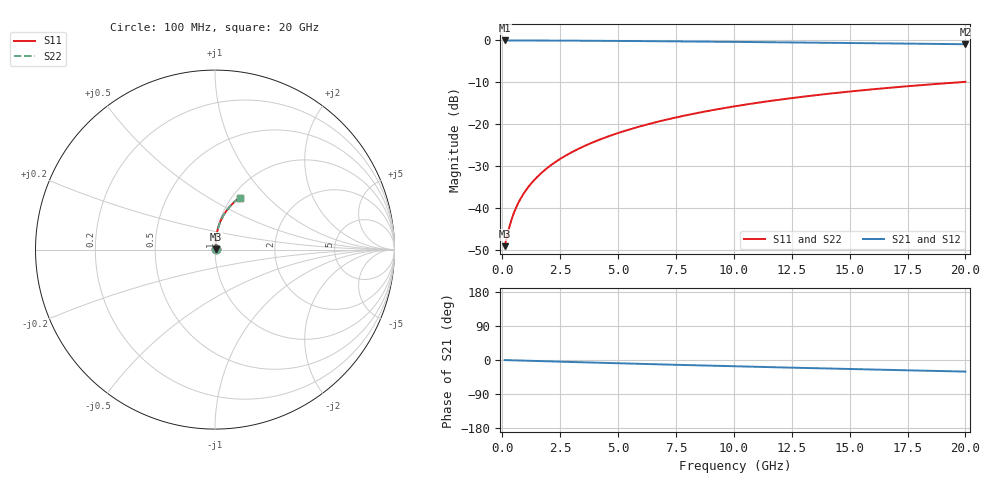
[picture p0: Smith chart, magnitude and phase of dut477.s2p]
! Touchstone file exported from HFSS 2024.1.0
!  File:  C:/UserFiles/LocalFiles/RDL_TSV_Batchsim/temp_RDL_bottom_477_1779686224.aedt
!  Generated:  01:19:50 PM May 25, 2026
!  Design:  RDL_bottom
!  Project:  temp_RDL_bottom_477_1779686224
!  Setup:  Setup1
!  Solution:  Sweep
! Variables:
!  dtsv = 10.80580581um
!  hbump = 3um
!  htsv = 78.38um
!  ldown = 390.65um
!  lrdl = 100um
!  p = 40
!  p1 = 49.98um
!  rhole = 1um
!  t = 450um
!  tdown = 2.4um
!  trdl = 3.915915916um
!  wdown = 20.47um
!  wrdl = 20um
# GHz S MA R 50.000000
! Terminal data exported
! Port[1] = RDL1_T1
! Port[2] = RDL1_T2
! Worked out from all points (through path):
!   200 points, 100 MHz to 20 GHz, reference 50 ohm
!   highest |S21| = -0.03 dB at 100 MHz (marker M1); lowest = -0.9 dB at 20 GHz (marker M2)
!   group delay of S21, straight-line fit = 4.22 ps
!   lowest |S11| = -49.1 dB at 100 MHz (marker M3), VSWR 1.01, Z = 50.3 + j0.167 ohm
!   |S11| at or under -10 dB: start of sweep to 19.72 GHz
!   |S22| runs from -49.1 to -9.9 dB; largest |S21 - S12| = 4.1e-15
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0.1  0.003523 28.1  0.9969 -0.2  0.9969 -0.2  0.003523 28.1
! Gamma 0 0 0 0
! Port Impedance 50 0 50 0
0.3  0.005897 56.3  0.9967 -0.6  0.9967 -0.6  0.005897 56.3
0.4  0.007309 62.5  0.9965 -0.7  0.9965 -0.7  0.007309 62.5
0.5  0.008751 66.5  0.9964 -0.9  0.9964 -0.9  0.008751 66.5
0.6  0.0102 69.4  0.9963 -1.1  0.9963 -1.1  0.0102 69.4
0.7  0.01166 71.6  0.9961 -1.3  0.9961 -1.3  0.01166 71.6
0.9  0.01457 74.8  0.9958 -1.6  0.9958 -1.6  0.01457 74.8
1.2  0.01898 77.8  0.9954 -2.1  0.9954 -2.1  0.01898 77.8
1.4  0.02195 79.2  0.9951 -2.5  0.9951 -2.5  0.02195 79.2
1.7  0.02644 80.7  0.9945 -3.0  0.9945 -3.0  0.02644 80.7
2.2  0.03402 82.3  0.9935 -3.9  0.9935 -3.9  0.03402 82.3
2.8  0.04327 83.4  0.992 -4.9  0.992 -4.9  0.04327 83.4
3.5  0.05427 83.9  0.9898 -6.1  0.9898 -6.1  0.05427 83.9
4.2  0.06548 84.1  0.9873 -7.3  0.9873 -7.3  0.06548 84.1
5  0.07852 83.9  0.9841 -8.6  0.9841 -8.6  0.07852 83.9
5.9  0.09344 83.4  0.9802 -10.1  0.9802 -10.1  0.09345 83.4
6.8  0.1086 82.7  0.9759 -11.6  0.9759 -11.6  0.1086 82.7
8.4  0.1358 80.9  0.9677 -14.1  0.9677 -14.1  0.1358 80.9
10.1  0.1647 78.8  0.9584 -16.7  0.9584 -16.7  0.1647 78.8
13.4  0.2197 74.1  0.9393 -21.5  0.9393 -21.5  0.2197 74.1
16.7  0.2718 69.3  0.9193 -26.1  0.9193 -26.1  0.2719 69.3
20  0.3202 64.6  0.8987 -30.6  0.8987 -30.6  0.3202 64.6
